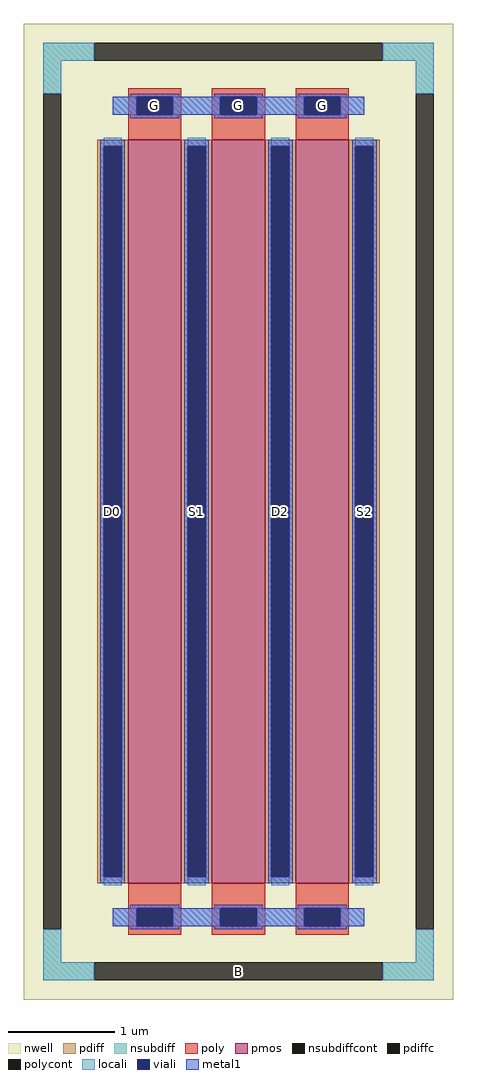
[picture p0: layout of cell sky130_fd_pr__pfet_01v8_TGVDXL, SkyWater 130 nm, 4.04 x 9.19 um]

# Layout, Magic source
magic
tech sky130A
magscale 1 2
<< nwell >>
rect -404 -919 404 919
<< pmos >>
rect -208 -700 -108 700
rect -50 -700 50 700
rect 108 -700 208 700
<< pdiff >>
rect -266 688 -208 700
rect -266 -688 -254 688
rect -220 -688 -208 688
rect -266 -700 -208 -688
rect -108 688 -50 700
rect -108 -688 -96 688
rect -62 -688 -50 688
rect -108 -700 -50 -688
rect 50 688 108 700
rect 50 -688 62 688
rect 96 -688 108 688
rect 50 -700 108 -688
rect 208 688 266 700
rect 208 -688 220 688
rect 254 -688 266 688
rect 208 -700 266 -688
<< pdiffc >>
rect -254 -688 -220 688
rect -96 -688 -62 688
rect 62 -688 96 688
rect 220 -688 254 688
<< nsubdiff >>
rect -368 849 -272 883
rect 272 849 368 883
rect -368 787 -334 849
rect 334 787 368 849
rect -368 -849 -334 -787
rect 334 -849 368 -787
rect -368 -883 -272 -849
rect 272 -883 368 -849
<< nsubdiffcont >>
rect -272 849 272 883
rect -368 -787 -334 787
rect 334 -787 368 787
rect -272 -883 272 -849
<< poly >>
rect -208 781 -108 797
rect -208 747 -192 781
rect -124 747 -108 781
rect -208 700 -108 747
rect -50 781 50 797
rect -50 747 -34 781
rect 34 747 50 781
rect -50 700 50 747
rect 108 781 208 797
rect 108 747 124 781
rect 192 747 208 781
rect 108 700 208 747
rect -208 -747 -108 -700
rect -208 -781 -192 -747
rect -124 -781 -108 -747
rect -208 -797 -108 -781
rect -50 -747 50 -700
rect -50 -781 -34 -747
rect 34 -781 50 -747
rect -50 -797 50 -781
rect 108 -747 208 -700
rect 108 -781 124 -747
rect 192 -781 208 -747
rect 108 -797 208 -781
<< polycont >>
rect -192 747 -124 781
rect -34 747 34 781
rect 124 747 192 781
rect -192 -781 -124 -747
rect -34 -781 34 -747
rect 124 -781 192 -747
<< locali >>
rect -368 849 -272 883
rect 272 849 368 883
rect -368 787 -334 849
rect 334 787 368 849
rect -237 747 -192 781
rect -124 747 -34 781
rect 34 747 124 781
rect 192 747 237 781
rect -254 688 -220 704
rect -254 -704 -220 -688
rect -96 688 -62 704
rect -96 -704 -62 -688
rect 62 688 96 704
rect 62 -704 96 -688
rect 220 688 254 704
rect 220 -704 254 -688
rect -237 -781 -192 -747
rect -124 -781 -34 -747
rect 34 -781 124 -747
rect 192 -781 237 -747
rect -368 -849 -334 -787
rect 334 -849 368 -787
rect -368 -883 -272 -849
rect 272 -883 368 -849
<< viali >>
rect -192 747 -124 781
rect -34 747 34 781
rect 124 747 192 781
rect -254 -688 -220 688
rect -96 -688 -62 688
rect 62 -688 96 688
rect 220 -688 254 688
rect -192 -781 -124 -747
rect -34 -781 34 -747
rect 124 -781 192 -747
<< metal1 >>
rect -204 781 -112 787
rect -46 781 46 787
rect 112 781 204 787
rect -237 747 -192 781
rect -124 747 -34 781
rect 34 747 124 781
rect 192 747 237 781
rect -204 741 -112 747
rect -46 741 46 747
rect 112 741 204 747
rect -260 688 -214 700
rect -260 -688 -254 688
rect -220 -688 -214 688
rect -260 -700 -214 -688
rect -102 688 -56 700
rect -102 -688 -96 688
rect -62 -688 -56 688
rect -102 -700 -56 -688
rect 56 688 102 700
rect 56 -688 62 688
rect 96 -688 102 688
rect 56 -700 102 -688
rect 214 688 260 700
rect 214 -688 220 688
rect 254 -688 260 688
rect 214 -700 260 -688
rect -204 -747 -112 -741
rect -46 -747 46 -741
rect 112 -747 204 -741
rect -237 -781 -192 -747
rect -124 -781 -34 -747
rect 34 -781 124 -747
rect 192 -781 237 -747
rect -204 -787 -112 -781
rect -46 -787 46 -781
rect 112 -787 204 -781
<< labels >>
rlabel nsubdiffcont 0 -866 0 -866 0 B
port 1 nsew
rlabel pdiffc -237 0 -237 0 0 D0
port 2 nsew
rlabel polycont -158 764 -158 764 0 G
port 3 nsew
rlabel pdiffc -79 0 -79 0 0 S1
port 4 nsew
rlabel polycont 0 764 0 764 0 G
port 3 nsew
rlabel pdiffc 79 0 79 0 0 D2
port 5 nsew
rlabel pdiffc 237 0 237 0 0 S2
port 6 nsew
rlabel polycont 158 764 158 764 0 G
port 3 nsew
<< properties >>
string FIXED_BBOX -351 -866 351 866
string gencell sky130_fd_pr__pfet_01v8
string library sky130
string parameters w 7 l 0.5 m 1 nf 3 diffcov 100 polycov 100 guard 1 glc 1 grc 1 gtc 1 gbc 1 tbcov 100 rlcov 100 topc 1 botc 1 poverlap 0 doverlap 1 lmin 0.15 wmin 0.42 class mosfet compatible {sky130_fd_pr__pfet_01v8  sky130_fd_pr__pfet_01v8_lvt sky130_fd_pr__pfet_01v8_hvt  sky130_fd_pr__pfet_g5v0d10v5} full_metal 1 conn_gates 1 viasrc 100 viadrn 100 viagate 100 viagb 0 viagr 0 viagl 0 viagt 0 doports 1
<< end >>
